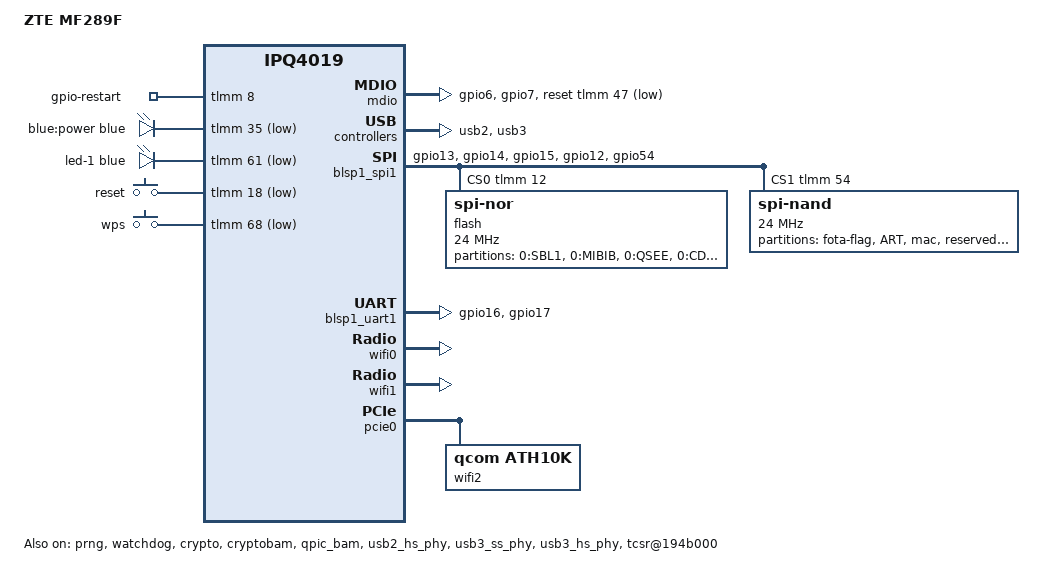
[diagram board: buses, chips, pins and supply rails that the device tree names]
// SPDX-License-Identifier: GPL-2.0-or-later OR MIT
// Copyright (c) 2022, Pawel Dembicki <paweldembicki@gmail.com>.
// Copyright (c) 2022, Giammarco Marzano <stich86@gmail.com>.

#include "qcom-ipq4019.dtsi"
#include <dt-bindings/soc/qcom,tcsr.h>
#include <dt-bindings/gpio/gpio.h>
#include <dt-bindings/input/input.h>
#include <dt-bindings/leds/common.h>

/ {
	model = "ZTE MF289F";
	compatible = "zte,mf289f";

	aliases {
		led-boot = &led_status;
		led-failsafe = &led_status;
		led-running = &led_status;
		led-upgrade = &led_status;
	};

	chosen {
		/*
		 * bootargs forced by u-boot bootipq command:
		 * 'ubi.mtd=rootfs root=mtd:ubi_rootfs rootfstype=squashfs rootwait'
		 */
		bootargs-append = " root=/dev/ubiblock0_1";
	};

	/*
	 * This node is used to restart modem module to avoid anomalous
	 * behaviours on initial communication.
	 */
	gpio-restart {
		compatible = "gpio-restart";
		gpios = <&tlmm 8 GPIO_ACTIVE_HIGH>;
	};

	leds {
		compatible = "gpio-leds";

		led_status: led-0 {
			label = "blue:power";
			function = LED_FUNCTION_POWER;
			color = <LED_COLOR_ID_BLUE>;
			gpios = <&tlmm 35 GPIO_ACTIVE_LOW>;
		};

		led-1 {
			function = LED_FUNCTION_WLAN;
			color = <LED_COLOR_ID_BLUE>;
			gpios = <&tlmm 61 GPIO_ACTIVE_LOW>;
			linux,default-trigger = "phy0tpt";
		};
	};

	keys {
		compatible = "gpio-keys";

		key-reset {
			label = "reset";
			linux,code = <KEY_RESTART>;
			gpios = <&tlmm 18 GPIO_ACTIVE_LOW>;
		};

		key-wps {
			label = "wps";
			linux,code = <KEY_WPS_BUTTON>;
			gpios = <&tlmm 68 GPIO_ACTIVE_LOW>;
		};
	};

	soc {
		ess-psgmii@98000 {
			status = "okay";
		};

		tcsr@1949000 {
			compatible = "qcom,tcsr";
			reg = <0x1949000 0x100>;
			qcom,wifi_glb_cfg = <TCSR_WIFI_GLB_CFG>;
		};

		tcsr@194b000 {
			/* select hostmode */
			compatible = "qcom,tcsr";
			reg = <0x194b000 0x100>;
			qcom,usb-hsphy-mode-select = <TCSR_USB_HSPHY_HOST_MODE>;
			status = "okay";
		};

		ess_tcsr@1953000 {
			compatible = "qcom,tcsr";
			reg = <0x1953000 0x1000>;
			qcom,ess-interface-select = <TCSR_ESS_PSGMII>;
		};

		tcsr@1957000 {
			compatible = "qcom,tcsr";
			reg = <0x1957000 0x100>;
			qcom,wifi_noc_memtype_m0_m2 = <TCSR_WIFI_NOC_MEMTYPE_M0_M2>;
		};

		ess-switch@c000000 {
			status = "okay";
			switch_lan_bmp = <0x20>;
			switch_wan_bmp = <0x4>;
		};

		edma@c080000 {
			status = "okay";
		};
	};
};

&prng {
	status = "okay";
};

&mdio {
	status = "okay";
	pinctrl-0 = <&mdio_pins>;
	pinctrl-names = "default";
	reset-gpios = <&tlmm 47 GPIO_ACTIVE_LOW>;
	reset-delay-us = <2000>;
};

&watchdog {
	status = "okay";
};

&blsp_dma {
	status = "okay";
};

&usb2 {
	status = "okay";
};

&usb3 {
	status = "okay";
};

&blsp1_spi1 {
	pinctrl-0 = <&spi_0_pins>;
	pinctrl-names = "default";
	status = "okay";
	cs-gpios = <&tlmm 12 GPIO_ACTIVE_HIGH>,
		   <&tlmm 54 GPIO_ACTIVE_HIGH>;

	flash@0 {
		compatible = "jedec,spi-nor";
		#address-cells = <1>;
		#size-cells = <1>;
		reg = <0>;
		spi-max-frequency = <24000000>;

		partitions {
			compatible = "fixed-partitions";
			#address-cells = <1>;
			#size-cells = <1>;

			partition@0 {
				label = "0:SBL1";
				reg = <0x0 0x40000>;
				read-only;
			};

			partition@40000 {
				label = "0:MIBIB";
				reg = <0x40000 0x20000>;
				read-only;
			};

			partition@60000 {
				label = "0:QSEE";
				reg = <0x60000 0x60000>;
				read-only;
			};

			partition@c0000 {
				label = "0:CDT";
				reg = <0xc0000 0x10000>;
				read-only;
			};

			partition@d0000 {
				label = "0:DDRPARAMS";
				reg = <0xd0000 0x10000>;
				read-only;
			};

			partition@e0000 {
				label = "0:APPSBLENV";
				reg = <0xe0000 0x10000>;
				read-only;
			};

			partition@f0000 {
				label = "0:APPSBL";
				reg = <0xf0000 0xc0000>;
				read-only;
			};

			partition@1b0000 {
				label = "0:reserved1";
				reg = <0x1b0000 0x50000>;
				read-only;
			};
		};
	};

	spi-nand@1 { /* flash@1 ? */
		compatible = "spi-nand";
		reg = <1>;
		spi-max-frequency = <24000000>;

		partitions {
			compatible = "fixed-partitions";
			#address-cells = <1>;
			#size-cells = <1>;

			partition@0 {
				label = "fota-flag";
				reg = <0x0 0xa0000>;
				read-only;
			};

			partition@a0000 {
				label = "ART";
				reg = <0xa0000 0x80000>;
				read-only;
				compatible = "nvmem-cells";
				#address-cells = <1>;
				#size-cells = <1>;

				precal_art_1000: precal@1000 {
					reg = <0x1000 0x2f20>;
				};

				precal_art_5000: precal@5000 {
					reg = <0x5000 0x2f20>;
				};
			};

			partition@120000 {
				label = "mac";
				reg = <0x120000 0x80000>;
				read-only;
				compatible = "nvmem-cells";
				#address-cells = <1>;
				#size-cells = <1>;

				macaddr_mac_0: macaddr@0 {
					reg = <0x0 0x6>;
				};
			};

			partition@1a0000 {
				label = "reserved2";
				reg = <0x1a0000 0xc0000>;
				read-only;
			};

			partition@260000 {
				label = "cfg-param";
				reg = <0x260000 0x400000>;
				read-only;
			};

			partition@660000 {
				label = "log";
				reg = <0x660000 0x400000>;
			};

			partition@a60000 {
				label = "oops";
				reg = <0xa60000 0xa0000>;
			};

			partition@b00000 {
				label = "reserved3";
				reg = <0xb00000 0x500000>;
				read-only;
			};

			partition@1000000 {
				label = "web";
				reg = <0x1000000 0x800000>;
			};

			partition@1800000 {
				label = "rootfs";
				reg = <0x1800000 0x1d00000>;
			};

			partition@3500000 {
				label = "data";
				reg = <0x3500000 0x1900000>;
			};

			partition@4e00000 {
				label = "fota";
				reg = <0x4e00000 0x3200000>;
			};
		};
	};
};

&blsp1_uart1 {
	pinctrl-0 = <&serial_pins>;
	pinctrl-names = "default";
	status = "okay";
};

&crypto {
	status = "okay";
};

&cryptobam {
	status = "okay";
};

&gmac0 {
	nvmem-cell-names = "mac-address";
	nvmem-cells = <&macaddr_mac_0>;
	vlan_tag = <1 0x20>;
};

&gmac1 {
	nvmem-cell-names = "mac-address";
	nvmem-cells = <&macaddr_mac_0>;
	mac-address-increment = <1>;
	vlan_tag = <2 0x4>;
};


&qpic_bam {
	status = "okay";
};

&tlmm {
	i2c_0_pins: i2c_0_pinmux {
		mux {
			pins = "gpio20", "gpio21";
			function = "blsp_i2c0";
			bias-disable;
		};
	};

	mdio_pins: mdio_pinmux {
		mux_1 {
			pins = "gpio6";
			function = "mdio";
			bias-pull-up;
		};

		mux_2 {
			pins = "gpio7";
			function = "mdc";
			bias-pull-up;
		};
	};

	serial_pins: serial_pinmux {
		mux {
			pins = "gpio16", "gpio17";
			function = "blsp_uart0";
			bias-disable;
		};
	};

	spi_0_pins: spi_0_pinmux {
		pinmux {
			function = "blsp_spi0";
			pins = "gpio13", "gpio14", "gpio15";
			drive-strength = <12>;
			bias-disable;
		};

		pinmux_cs {
			function = "gpio";
			pins = "gpio12", "gpio54";
			drive-strength = <2>;
			bias-disable;
			output-high;
		};
	};
};

&usb2_hs_phy {
	status = "okay";
};

&usb3_ss_phy {
	status = "okay";
};

&usb3_hs_phy {
	status = "okay";
};

&wifi0 {
	status = "okay";
	nvmem-cell-names = "pre-calibration", "mac-address";
	nvmem-cells = <&precal_art_1000>, <&macaddr_mac_0>;
	mac-address-increment = <2>;
	qcom,ath10k-calibration-variant = "zte,mf289f";
};

/* This node is used only on AT2 version for 5Ghz on IPQ4019 with board-id=21 */
&wifi1 {
	status = "okay";
	nvmem-cell-names = "pre-calibration", "mac-address";
	nvmem-cells = <&precal_art_5000>, <&macaddr_mac_0>;
	mac-address-increment = <3>;
	qcom,ath10k-calibration-variant = "zte,mf289f";
};

/* This node is used only on AT1 version for 5Ghz on QCA9984 */
&pcie0 {
	status = "okay";
	perst-gpio = <&tlmm 38 GPIO_ACTIVE_LOW>;
	wake-gpio = <&tlmm 40 GPIO_ACTIVE_LOW>;
	clkreq-gpio = <&tlmm 39 GPIO_ACTIVE_LOW>;

	bridge@0,0 {
		reg = <0x00000000 0 0 0 0>;
		#address-cells = <3>;
		#size-cells = <2>;
		ranges;

		wifi2: wifi@1,0 {
			nvmem-cell-names = "mac-address";
			nvmem-cells = <&macaddr_mac_0>;
			mac-address-increment = <4>;
			compatible = "qcom,ath10k";
			reg = <0x00010000 0 0 0 0>;
			qcom,ath10k-calibration-variant = "zte,mf289f";
		};
	};
};
